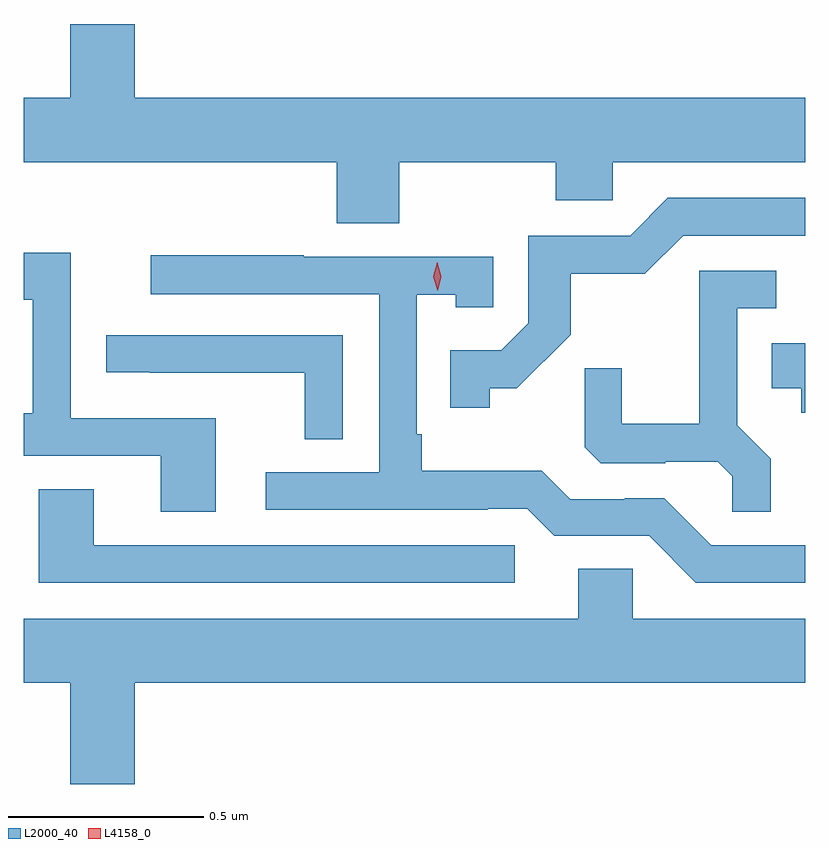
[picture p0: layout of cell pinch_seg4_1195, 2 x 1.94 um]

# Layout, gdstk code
import gdstk
lib = gdstk.Library(unit=1e-6, precision=1e-09)
def P(c, l, *ps):  # polygons
    for p in ps: c.add(gdstk.Polygon(p, *l))
L2000_40 = (2000, 40)
L4158_0 = (4158, 0)

pinch_seg4_1195 = lib.new_cell('pinch_seg4_1195')
P(pinch_seg4_1195, L2000_40, [(393.621,784.832),(394.021,784.832),(394.021,784.734),(394.167,784.734),(394.167,784.832),(394.66,784.832),(394.66,784.996),(392.944,784.996),(392.944,785.185),(392.78,785.185),(392.78,784.996),(392.66,784.996),(392.66,784.832),(393.461,784.832),(393.461,784.675),(393.621,784.675)],
  [(393.852,784.253),(393.922,784.253),(394.06,784.39),(394.06,784.546),(394.249,784.546),(394.347,784.644),(394.66,784.644),(394.66,784.74),(394.308,784.74),(394.212,784.644),(393.951,784.644),(393.951,784.419),(393.882,784.35),(393.751,784.35),(393.751,784.203),(393.852,784.203)],
  [(393.151,784.176),(392.781,784.176),(392.781,784.6),(392.66,784.6),(392.66,784.48),(392.684,784.48),(392.684,784.189),(392.66,784.189),(392.66,784.08),(393.011,784.08),(393.011,783.937),(393.151,783.937)],
  [(394.66,783.852),(394.419,783.852),(394.299,783.972),(394.198,783.972),(394.198,783.969),(394.059,783.969),(393.986,784.042),(393.679,784.042),(393.679,784.135),(393.666,784.135),(393.666,784.493),(393.765,784.493),(393.765,784.461),(393.861,784.461),(393.861,784.59),(393.377,784.59),(393.377,784.593),(392.985,784.593),(392.985,784.494),(393.57,784.494),(393.57,784.038),(393.279,784.038),(393.279,783.942),(393.848,783.942),(393.848,783.945),(393.948,783.945),(394.017,783.876),(394.26,783.876),(394.38,783.756),(394.66,783.756)],
  [(394.571,784.073),(394.485,784.159),(394.485,784.458),(394.585,784.458),(394.585,784.554),(394.388,784.554),(394.388,784.162),(394.19,784.162),(394.19,784.305),(394.096,784.305),(394.096,784.103),(394.137,784.062),(394.302,784.062),(394.302,784.065),(394.436,784.065),(394.473,784.028),(394.473,783.937),(394.571,783.937)],
  [(393.477,784.389),(392.871,784.389),(392.871,784.294),(392.983,784.294),(392.983,784.293),(393.379,784.293),(393.379,784.123),(393.477,784.123)],
  [(394.66,784.369),(394.574,784.369),(394.574,784.253),(394.649,784.253),(394.649,784.19),(394.66,784.19)],
  [(393.916,783.852),(392.839,783.852),(392.839,783.995),(392.699,783.995),(392.699,783.756),(393.916,783.756)],
  [(392.944,783.5),(394.66,783.5),(394.66,783.664),(394.218,783.664),(394.218,783.791),(394.079,783.791),(394.079,783.664),(392.66,783.664),(392.66,783.5),(392.78,783.5),(392.78,783.241),(392.944,783.241)])
P(pinch_seg4_1195, L4158_0, [(393.719,784.503),(393.719,784.503),(393.708,784.539),(393.718,784.575),(393.718,784.575),(393.718,784.575),(393.728,784.539),(393.719,784.503)])

lib.write_gds('pinch_seg4_1195.gds')
